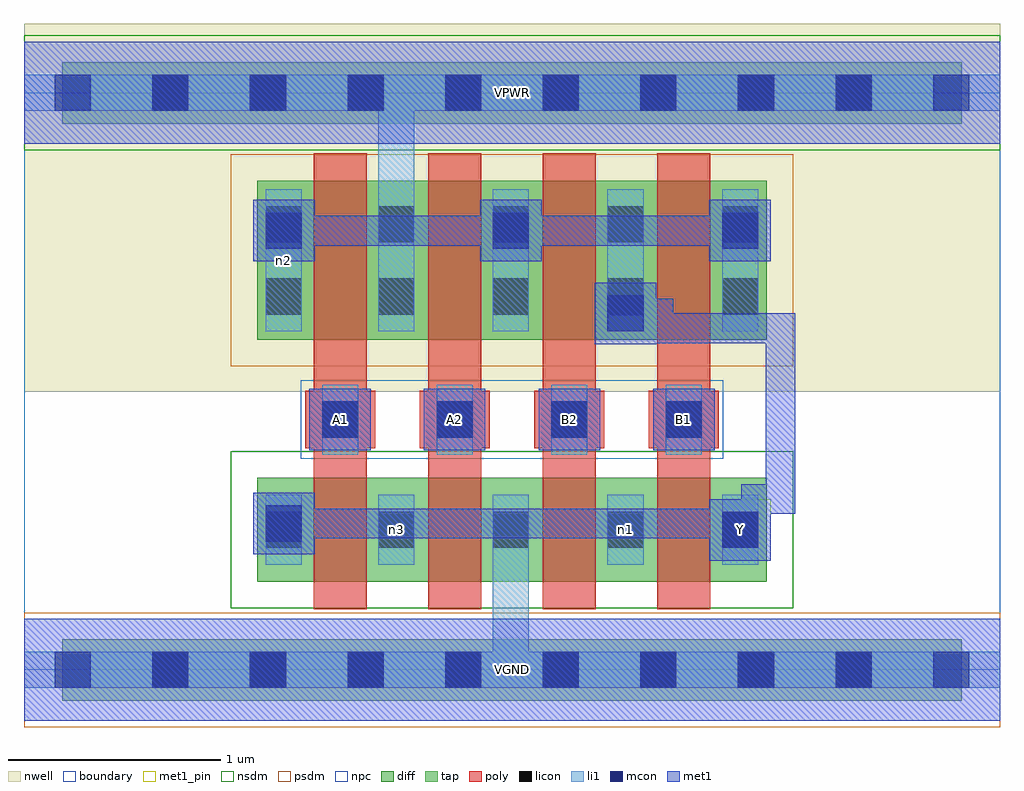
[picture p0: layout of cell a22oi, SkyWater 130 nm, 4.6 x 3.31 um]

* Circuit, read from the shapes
.subckt a22oi A1 A2 B1 B2 VGND VPWR Y n1 n2 n3
XM1 n3 A1 Y VGND sky130_fd_pr__nfet_01v8 w=0.49 l=0.25
XM2 VGND A2 n3 VGND sky130_fd_pr__nfet_01v8 w=0.49 l=0.25
XM3 n1 B2 VGND VGND sky130_fd_pr__nfet_01v8 w=0.49 l=0.25
XM4 Y B1 n1 VGND sky130_fd_pr__nfet_01v8 w=0.49 l=0.25
XM5 VPWR A1 n2 VPWR sky130_fd_pr__pfet_01v8 w=0.75 l=0.25
XM6 n2 A2 VPWR VPWR sky130_fd_pr__pfet_01v8 w=0.75 l=0.25
XM7 Y B2 n2 VPWR sky130_fd_pr__pfet_01v8 w=0.75 l=0.25
XM8 n2 B1 Y VPWR sky130_fd_pr__pfet_01v8 w=0.75 l=0.25
.ends

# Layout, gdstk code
import gdstk
lib = gdstk.Library(unit=1e-6, precision=1e-09)
def R(c, l, rs):  # rectangles x0, y0, x1, y1
    for r in rs: c.add(gdstk.rectangle(r[:2], r[2:], *l))
def A(c, l, x, y, w, h, nx, ny, dx, dy):  # array of equal rectangles
    R(c, l, [(x+i*dx, y+j*dy, x+i*dx+w, y+j*dy+h) for i in range(nx) for j in range(ny)])
nwell = (64, 20)
diff = (65, 20)
tap = (65, 44)
poly = (66, 20)
licon = (66, 44)
li1 = (67, 20)
mcon = (67, 44)
met1_pin = (68, 16)
met1 = (68, 20)
nsdm = (93, 44)
psdm = (94, 20)
npc = (95, 20)
boundary = (235, 4)

a22oi = lib.new_cell('a22oi')
R(a22oi, nwell, [(0,1.31,4.6,3.045)])
R(a22oi, diff, [(1.1,0.415,3.5,0.905), (1.1,1.555,3.5,2.305)])
R(a22oi, tap, [(0.18,-0.145,4.42,0.145), (0.18,2.575,4.42,2.865)])
A(a22oi, poly, 1.365, 0.285, 0.25, 2.15, 4, 1, 0.54, 0)
A(a22oi, poly, 1.325, 1.045, 0.33, 0.27, 4, 1, 0.54, 0)
A(a22oi, licon, 0.605, -0.085, 0.17, 0.17, 8, 2, 0.46, 2.72)
A(a22oi, licon, 1.67, 0.575, 0.17, 0.17, 4, 2, 0.54, 1.1)
A(a22oi, licon, 1.405, 1.095, 0.17, 0.17, 4, 1, 0.54, 0)
A(a22oi, licon, 1.67, 2.015, 0.17, 0.17, 4, 1, 0.54, 0)
R(a22oi, licon, [(1.14,0.575,1.31,0.745), (1.14,1.675,1.31,1.845), (1.14,2.015,1.31,2.185)])
A(a22oi, li1, 1.67, 0.495, 0.17, 0.33, 4, 1, 0.54, 0)
A(a22oi, li1, 1.405, 1.015, 0.17, 0.33, 4, 1, 0.54, 0)
A(a22oi, li1, 1.67, 1.595, 0.17, 0.67, 4, 1, 0.54, 0)
R(a22oi, li1, [(0,-0.085,4.6,0.085), (2.21,-0.085,2.38,0.825), (1.14,0.495,1.31,0.825), (1.14,1.595,1.31,2.265), (1.67,1.595,1.84,2.805), (0,2.635,4.6,2.805)])
A(a22oi, mcon, 0.145, -0.085, 0.17, 0.17, 10, 2, 0.46, 2.72)
A(a22oi, mcon, 1.405, 1.095, 0.17, 0.17, 4, 1, 0.54, 0)
R(a22oi, mcon, [(3.29,0.575,3.46,0.745), (1.14,0.605,1.31,0.775), (2.75,1.595,2.92,1.765), (1.14,1.985,1.31,2.155), (2.21,1.985,2.38,2.155), (3.29,1.985,3.46,2.155)])
A(a22oi, met1_pin, 1.345, 1.035, 0.29, 0.29, 4, 1, 0.54, 0)
R(a22oi, met1_pin, [(0,-0.24,4.6,0.24), (3.23,0.515,3.52,0.805), (0,2.48,4.6,2.96)])
A(a22oi, met1, 1.345, 1.035, 0.29, 0.29, 4, 1, 0.54, 0)
R(a22oi, met1, [(0,-0.24,4.6,0.24), (3.23,0.515,3.52,0.805), (1.08,0.545,1.37,0.835), (1.155,0.62,1.45,0.76), (1.31,0.62,3.52,0.76), (3.38,0.62,3.52,0.76), (3.38,0.62,3.52,0.875), (3.38,0.735,3.635,0.875), (3.495,0.735,3.635,1.68), (2.69,1.535,2.98,1.825), (2.92,1.54,3.06,1.75), (2.92,1.54,3.635,1.68), (2.765,1.61,3.06,1.75), (1.08,1.925,1.37,2.215), (2.15,1.925,2.44,2.215), (3.23,1.925,3.52,2.215), (1.155,2,1.45,2.14), (1.31,2,2.485,2.14), (2.225,2,2.485,2.14), (2.345,2,3.29,2.14), (3.15,2,3.445,2.14), (0,2.48,4.6,2.96)])
R(a22oi, nsdm, [(0.975,0.29,3.625,1.03), (0,2.45,4.6,2.99)])
R(a22oi, psdm, [(0,-0.27,4.6,0.27), (0.975,1.43,3.625,2.43)])
R(a22oi, npc, [(1.305,0.995,3.295,1.365)])
R(a22oi, boundary, [(0,0,4.6,2.72)])
a22oi.add(gdstk.Label('n3', (1.755,0.66), layer=67, texttype=5))
a22oi.add(gdstk.Label('n1', (2.835,0.66), layer=67, texttype=5))
a22oi.add(gdstk.Label('n2', (1.225,1.93), layer=67, texttype=5))
a22oi.add(gdstk.Label('A1', (1.49,1.18), layer=68, texttype=5))
a22oi.add(gdstk.Label('A2', (2.03,1.18), layer=68, texttype=5))
a22oi.add(gdstk.Label('B1', (3.11,1.18), layer=68, texttype=5))
a22oi.add(gdstk.Label('B2', (2.57,1.18), layer=68, texttype=5))
a22oi.add(gdstk.Label('Y', (3.375,0.66), layer=68, texttype=5))
a22oi.add(gdstk.Label('VPWR', (2.3,2.72), layer=68, texttype=5))
a22oi.add(gdstk.Label('VGND', (2.3,0), layer=68, texttype=5))
a22oi.add(gdstk.Label('A1', (1.49,1.18), layer=68, texttype=16))
a22oi.add(gdstk.Label('A2', (2.03,1.18), layer=68, texttype=16))
a22oi.add(gdstk.Label('B1', (3.11,1.18), layer=68, texttype=16))
a22oi.add(gdstk.Label('B2', (2.57,1.18), layer=68, texttype=16))
a22oi.add(gdstk.Label('Y', (3.375,0.66), layer=68, texttype=16))
a22oi.add(gdstk.Label('VPWR', (2.3,2.72), layer=68, texttype=16))
a22oi.add(gdstk.Label('VGND', (2.3,0), layer=68, texttype=16))

lib.write_gds('a22oi.gds')
